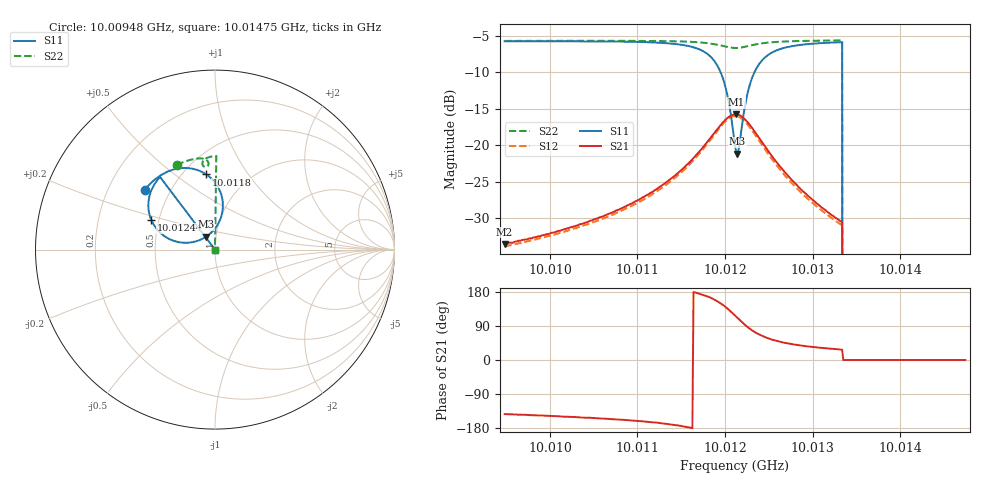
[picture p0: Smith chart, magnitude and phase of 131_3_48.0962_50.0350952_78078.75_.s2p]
#  HZ  S  RI  R  50.00
! Rohde & Schwarz Vector Network Analyzer
! Rohde-Schwarz,ZNB20-2Port,1311601062101988,3.16
! Created: UTC 12/23/2023, 3:47:46 AM
! freq[Hz]  re:S11  im:S11  re:S21  im:S21  re:S12  im:S12  re:S22  im:S22
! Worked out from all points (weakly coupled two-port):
!   401 points, 10.00948 GHz to 10.01475 GHz, reference 50 ohm
!   highest |S21| = -15.78 dB at 10.01213 GHz (marker M1); lowest = -33.5 dB at 10.00948 GHz (marker M2)
!   lowest |S11| = -21.2 dB at 10.01214 GHz (marker M3), VSWR 1.19, Z = 44.7 + j6.42 ohm
!   |S11| at or under -10 dB: 10.01195 GHz to 10.01234 GHz (387.5 kHz wide, 0.00387 % of centre); 10.01334 GHz to end of sweep
!   |S22| runs from - to -5.7 dB; largest |S21 - S12| = 0.0081
!   S11 on the Smith chart (normalised r, x): 10.00948 GHz: 0.36, +0.33; 10.0118 GHz: 0.64, +0.66; 10.01244 GHz: 0.45, +0.18; 10.01475 GHz: 1.00, +0.00
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1.0009483e10  -0.392 0.3339  -0.0168 -0.0127  -0.0155 -0.0131  -0.2126 0.4722
1.0010364e10  -0.337 0.3889  -0.0254 -0.0136  -0.0238 -0.0144  -0.1578 0.4942
1.0011246e10  -0.2356 0.4446  -0.0499 -0.0123  -0.0472 -0.0144  -0.0959 0.5078
1.0011548e10  -0.1603 0.4547  -0.0715 -0.00465  -0.0688 -0.00838  -0.0702 0.5076
1.0011798e10  -0.0488 0.4189  -0.1029 0.0218  -0.1008 0.016  -0.0463 0.4976
1.0011904e10  0.0111 0.3579  -0.1158 0.0514  -0.1154 0.0437  -0.038 0.4872
1.0011983e10  0.0418 0.2757  -0.1173 0.0844  -0.1181 0.0771  -0.036 0.476
1.0012048e10  0.0352 0.1858  -0.1042 0.1174  -0.1066 0.1098  -0.04 0.4665
1.0012114e10  -0.0173 0.0981  -0.0746 0.1442  -0.078 0.1378  -0.0493 0.4607
1.0012127e10  -0.0334 0.0839  -0.067 0.1481  -0.0708 0.1415  -0.0515 0.4604
1.0012141e10  -0.0507 0.0712  -0.0592 0.1509  -0.0632 0.1445  -0.0538 0.4604
1.0012167e10  -0.0887 0.0518  -0.0433 0.1543  -0.0472 0.1482  -0.0581 0.4613
1.0012233e10  -0.1877 0.0393  -0.00504 0.1492  -0.00912 0.144  -0.0668 0.4679
1.0012285e10  -0.2547 0.059  0.0188 0.1358  0.0133 0.1313  -0.07 0.4756
1.0012351e10  -0.3131 0.1017  0.037 0.1152  0.0316 0.1117  -0.0699 0.4851
1.0012443e10  -0.3551 0.1656  0.0476 0.0888  0.0423 0.0865  -0.0647 0.496
1.001268e10  -0.3684 0.2833  0.0462 0.0467  0.0416 0.0465  -0.0445 0.5111
1.0012996e10  -0.3397 0.3605  0.0349 0.0241  0.0321 0.0246  -0.0183 0.5186
1.0013312e10  -0.3087 0.4022  0.0269 0.0141  0.0248 0.0149  0.0054 0.5212
1.0013377e10  0 0  0 0  0 0  0 0
1.0013877e10  0 0  0 0  0 0  0 0
1.0014746e10  0 0  0 0  0 0  0 0
